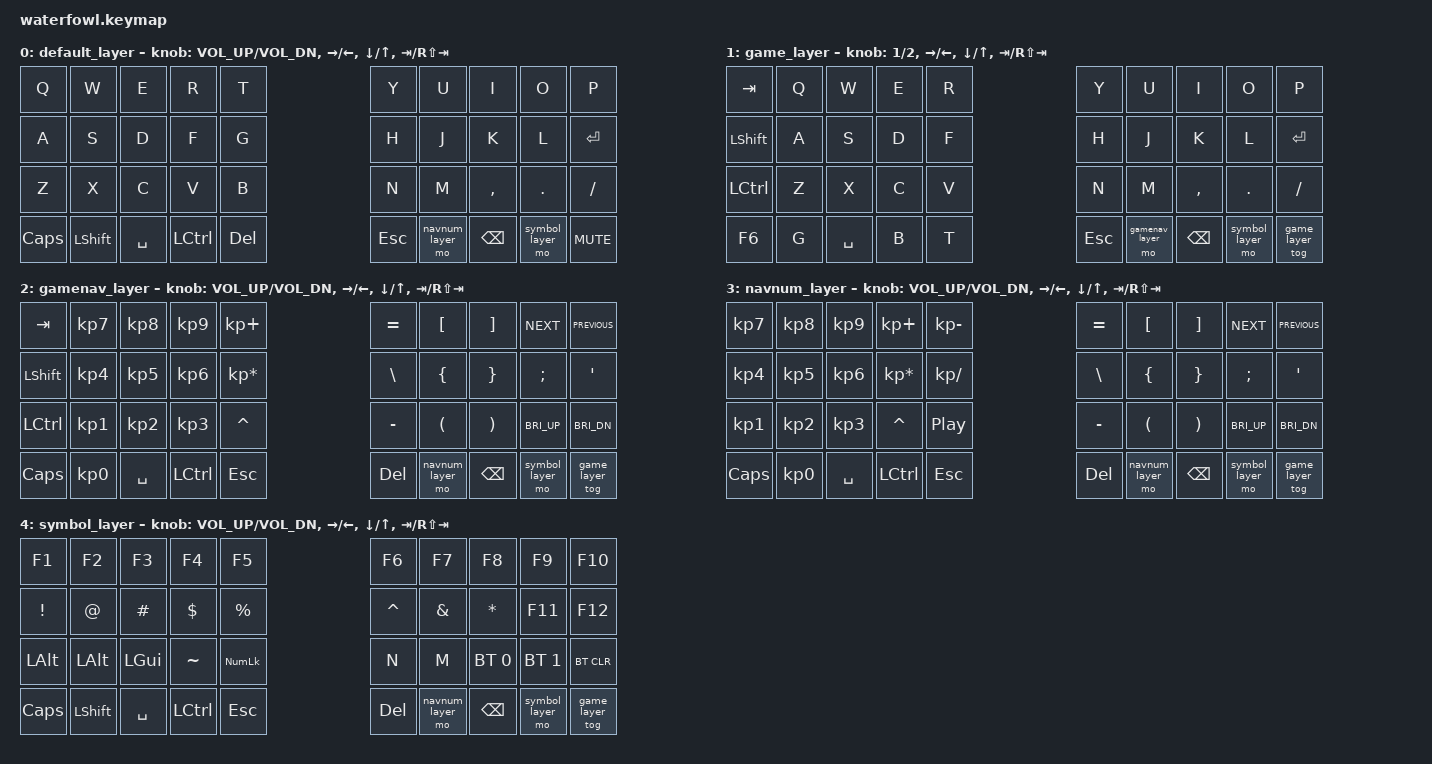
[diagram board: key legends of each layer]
/*
 * Copyright (c) 2022 The ZMK Contributors
 *
 * SPDX-License-Identifier: MIT
 */

#include <behaviors.dtsi>
#include <dt-bindings/zmk/keys.h>
#include <dt-bindings/zmk/bt.h>


#define DEFAULT			0
#define game_layer		1
#define gamenav_layer	2
#define navnum_layer	3
#define symbol_layer	4


/ {
	keymap {
		compatible = "zmk,keymap";

		default_layer {
/* QWERTY
 *
 * ,----------------------------------.                      ,----------------------------------.
 * |   Q  |   W  |   E  |   R  |   T  |                      |   Y  |   U  |   I  |   O  |   P  |
 * |------+------+------+------+------|                      |------+------+------+------+------|
 * |   A  |   S  |   D  |   F  |   G  |                      |   H  |   J  |   K  |   L  | ENTER|
 * |------+------+------+------+------|  ,-----.    ,-----.  |------+------+------+------+------|
 * |   Z  |   X  |   C  |   V  |   B  |  | DEL |    | ESC |  |   N  |   M  |   ,  |   .  |  /?  |
 * `----------------------------------'  `-----'    `-----'  `----------------------------------'
 *          ,-----.   ,--------------------.            ,--------------------.   ,-----. 
 *          | Caps|   | LSFT | SPACE | ctrl|            |  L1   | BS |  L2   |   |Gaming|	
 *          `-----'   `--------------------'            `--------------------'   `-----'
 */
			bindings = <
	&kp Q		&kp W		&kp E		&kp R		&kp T							&kp Y	&kp U		&kp I		&kp O		&kp P
	&kp A		&kp S		&kp D		&kp F		&kp G							&kp H	&kp J		&kp K		&kp L		&kp ENTER
	&kp Z		&kp X		&kp C		&kp V		&kp B							&kp N	&kp M		&kp COMMA	&kp DOT		&kp FSLH
				&kp CAPS	&kp LSHFT	&kp SPACE  &kp LCTRL	&kp DEL		&kp ESC	&mo navnum_layer &kp BSPC &mo symbol_layer	&kp C_MUTE
			>;

			sensor-bindings = <
				&inc_dec_kp C_VOL_UP C_VOL_DN
				&inc_dec_kp RIGHT LEFT
				&inc_dec_kp DOWN UP
				&inc_dec_kp TAB RS(TAB)
			>;
		};


		game_layer {
/* SYM
 *
 * ,----------------------------------.                      ,----------------------------------.
 * |  TAB |  Q   |  W   |  E   |  R   |                      |   Y  |   U  |   I  |  O  |   P   |
 * |------+------+------+------+------|                      |------+------+------+------+------|
 * | SHIFT|  A   |  S   |  D   |  F   |                      |   H  |   J  |   K  |   L  | ENTER
 * |------+------+------+------+------|  ,-----.    ,-----.  |------+------+------+------+------|
 * | CTRL |  Z   |  X   |  C   |  V   |  |  T  |    | ESC |  |   N  |   M  |   ,  |   .  |  /?  |
 * `----------------------------------'  `-----'    `-----'  `----------------------------------'
 *          ,-----.   ,--------------------.            ,--------------------.   ,-----. 
 *          |  F6 |   |   G  | SPACE |  B  |            |  L1   | BS |  L2   |   |Gaming|	
 *          `-----'   `--------------------'            `--------------------'   `-----'
 */
			bindings = <
	&kp TAB		&kp Q		&kp W		&kp E		&kp R							&kp Y		&kp U		&kp I		&kp O		&kp P
	&kp LSHFT	&kp A		&kp S		&kp D		&kp F							&kp H		&kp J		&kp K		&kp L		&kp ENTER
	&kp LCTRL	&kp Z		&kp X		&kp C		&kp V							&kp N		&kp M		&kp COMMA	&kp DOT		&kp FSLH
				&kp F6	&kp G		&kp SPACE  	&kp B		&kp T		&kp ESC	&mo gamenav_layer &kp BSPC &mo symbol_layer	&tog game_layer
			>;

			sensor-bindings = <
				&inc_dec_kp N1 N2
				&inc_dec_kp RIGHT LEFT
				&inc_dec_kp DOWN UP
				&inc_dec_kp TAB RS(TAB)
			>;
		};
		gamenav_layer {
/* NAVNUM
 *
 * ,----------------------------------.                      ,----------------------------------.
 * |  TAB |   7  |   8  |   9  |   +  |                      |   =  |   [  |   ]  | next | back |
 * |------+------+------+------+------+                      |------+------+------+------+------|
 * | SHIFT|   4  |   5  |   6  |   *  |                      |  |\  |   {  |   }  |   ;  |  "   |
 * |------+------+------+------+------+  ,-----.    ,-----.  |------+------+------+------+------|
 * | CTRL |   1  |   2  |   3  |   ^  |  | ESC |    | DEL |  |  _-  |   (  |   )  | BRGUP| BRGDN|
 * `----------------------------------'  `-----'    `-----'  `----------------------------------'
 *          ,-----.   ,--------------------.            ,--------------------.   ,-----. 
 *          | Caps|   | 0    | SPACE | TAB |            |  L1   | BS |  L2   |   |Gaming|	
 *          `-----'   `--------------------'            `--------------------'   `-----'
 */
			bindings = <
	&kp TAB		&kp KP_N7	&kp KP_N8	&kp KP_N9	&kp KP_PLUS						&kp EQUAL	&kp LBKT	&kp RBKT	&kp C_NEXT	&kp C_PREVIOUS
	&kp LSHFT	&kp KP_N4	&kp KP_N5	&kp KP_N6	&kp KP_MULTIPLY					&kp BSLH	&kp LBRC	&kp RBRC	&kp SEMI	&kp SQT
	&kp LCTRL	&kp KP_N1	&kp KP_N2	&kp KP_N3	&kp CARET						&kp MINUS	&kp LPAR	&kp RPAR	&kp C_BRI_UP &kp C_BRI_DN
				&kp CAPS	&kp KP_N0	&kp SPACE	&kp LCTRL	&kp ESC		&kp DEL	&mo navnum_layer &kp BSPC &mo symbol_layer	&tog game_layer
			>;

			sensor-bindings = <
				&inc_dec_kp C_VOL_UP C_VOL_DN
				&inc_dec_kp RIGHT LEFT
				&inc_dec_kp DOWN UP
				&inc_dec_kp TAB RS(TAB)
			>;
		};

		navnum_layer {
/* NAVNUM
 *
 * ,----------------------------------.                      ,----------------------------------.
 * |   7  |   8  |   9  |   +  |   -  |                      |   =  |   [  |   ]  | next | back |
 * |------+------+------+------+------|                      |------+------+------+------+------|
 * |   4  |   5  |   6  |   *  |   /  |                      |  |\  |   {  |   }  |   ;  |  "   |
 * |------+------+------+------+------|  ,-----.    ,-----.  |------+------+------+------+------|
 * |   1  |   2  |   3  |   ^  | PAUSE|  | ESC |    | DEL |  |  _-  |   (  |   )  | BRGUP| BRGDN|
 * `----------------------------------'  `-----'    `-----'  `----------------------------------'
 *          ,-----.   ,--------------------.            ,--------------------.   ,-----. 
 *          | Caps|   | 0    | SPACE | TAB |            |  L1   | BS |  L2   |   |Gaming|	
 *          `-----'   `--------------------'            `--------------------'   `-----'
 */
			bindings = <
	&kp KP_N7	&kp KP_N8	&kp KP_N9	&kp KP_PLUS	&kp KP_MINUS				   &kp EQUAL &kp LBKT	&kp RBKT	&kp C_NEXT	&kp C_PREVIOUS
	&kp KP_N4	&kp KP_N5	&kp KP_N6 &kp KP_MULTIPLY &kp KP_DIVIDE				  	&kp BSLH	&kp LBRC	&kp RBRC	&kp SEMI	&kp SQT
	&kp KP_N1	&kp KP_N2	&kp KP_N3	&kp CARET	&kp C_PP						&kp MINUS	&kp LPAR	&kp RPAR	&kp C_BRI_UP &kp C_BRI_DN
				&kp CAPS	&kp KP_N0	&kp SPACE  &kp LCTRL	&kp ESC		&kp DEL	&mo navnum_layer &kp BSPC &mo symbol_layer	&tog game_layer
			>;

			sensor-bindings = <
				&inc_dec_kp C_VOL_UP C_VOL_DN
				&inc_dec_kp RIGHT LEFT
				&inc_dec_kp DOWN UP
				&inc_dec_kp TAB RS(TAB)
			>;
		};

		symbol_layer {
/* SYM
 *
 * ,----------------------------------.                      ,----------------------------------.
 * |  F1  |  F2  |  F3  |  F4  |  F5  |                      |  F6  |  F7  |  F8  |  F9  |  F10 |
 * |------+------+------+------+------|                      |------+------+------+------+------|
 * |   !  |   @  |   #  |   $  |   %  |                      |   ^  |   &  |   *  |  F11 |  F12 |
 * |------+------+------+------+------|  ,-----.    ,-----.  |------+------+------+------+------|
 * | CTRL |  ALT |  GUI |   ~  |  NUM |  | ESC |    | DEL |  |      |      |  BT0 |  BT1 | BLT  |
 * `----------------------------------'  `-----'    `-----'  `----------------------------------'
 *          ,-----.   ,--------------------.            ,--------------------.   ,-----. 
 *          | Caps|   | LSFT | SPACE | TAB |            |  L1   | BS |  L2   |   |Gaming|	
 *          `-----'   `--------------------'            `--------------------'   `-----'
 */
			bindings = <
	&kp F1		&kp F2		&kp F3		&kp F4		&kp F5							&kp F6		&kp F7		&kp F8		 &kp F9			&kp F10
	&kp EXCL	&kp AT		&kp HASH	&kp DLLR	&kp PRCNT					    &kp CARET 	&kp AMPS	&kp STAR	 &kp F11		&kp F12
	&kp LALT	&kp LALT 	&kp LGUI 	&kp TILDE	&kp KP_NUM					&kp N		&kp M		&bt BT_SEL 0 &bt BT_SEL 1	&bt BT_CLR
				&kp CAPS	&kp LSHFT	&kp SPACE  &kp LCTRL	&kp ESC		&kp DEL	&mo navnum_layer &kp BSPC &mo symbol_layer	&tog game_layer
			>;

			sensor-bindings = <
				&inc_dec_kp C_VOL_UP C_VOL_DN
				&inc_dec_kp RIGHT LEFT
				&inc_dec_kp DOWN UP
				&inc_dec_kp TAB RS(TAB)
			>;
		};
		
		



	};
};
